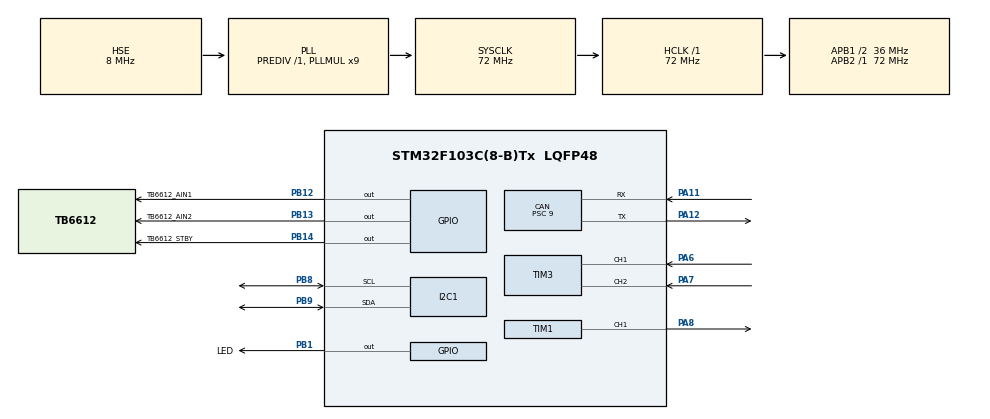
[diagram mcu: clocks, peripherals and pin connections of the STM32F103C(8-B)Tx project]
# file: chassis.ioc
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CAN.ABOM=ENABLE
CAN.BS1=CAN_BS1_11TQ
CAN.BS2=CAN_BS2_4TQ
CAN.CalculateBaudRate=250000
CAN.CalculateTimeBit=4000
CAN.CalculateTimeQuantum=250.0
CAN.Prescaler=9
CAN.SJW=CAN_SJW_4TQ
CAN.TXFP=ENABLE
FREERTOS.Tasks01=CAN_Send,24,128,StartCAN_SendTask,Default,NULL,Dynamic,NULL,NULL;CAN_Recv,24,256,StartCAN_RecvTask,Default,NULL,Dynamic,NULL,NULL;CAN_HB,8,128,StartCAN_HBTask,Default,NULL,Dynamic,NULL,NULL;Motor,24,256,StartMotorTask,Default,NULL,Dynamic,NULL,NULL;OLED,8,256,StartOLEDTask,Default,NULL,Dynamic,NULL,NULL;LED,8,128,StartLEDTask,Default,NULL,Dynamic,NULL,NULL
FREERTOS.configTOTAL_HEAP_SIZE=15360
Mcu.Family=STM32F1
Mcu.Name=STM32F103C(8-B)Tx
Mcu.Package=LQFP48
NVIC.CAN1_SCE_IRQn=true\:5\:0\:false\:false\:true\:true\:true\:true\:true
NVIC.PriorityGroup=NVIC_PRIORITYGROUP_4
NVIC.TIM2_IRQn=true\:15\:0\:false\:false\:true\:false\:false\:true\:true
NVIC.TimeBase=TIM2_IRQn
NVIC.TimeBaseIP=TIM2
NVIC.USB_HP_CAN1_TX_IRQn=true\:5\:0\:false\:false\:true\:true\:true\:true\:true
NVIC.USB_LP_CAN1_RX0_IRQn=true\:5\:0\:false\:false\:true\:true\:true\:true\:true
PA11.Mode=CAN_Activate
PA11.Signal=CAN_RX
PA12.Mode=CAN_Activate
PA12.Signal=CAN_TX
PA13.Mode=Serial_Wire
PA13.Signal=SYS_JTMS-SWDIO
PA14.Mode=Serial_Wire
PA14.Signal=SYS_JTCK-SWCLK
PA6.Signal=S_TIM3_CH1
PA7.Signal=S_TIM3_CH2
PA8.Signal=S_TIM1_CH1
PB1.GPIO_Label=LED
PB1.PinState=GPIO_PIN_SET
PB1.Signal=GPIO_Output
PB12.GPIO_Label=TB6612_AIN1
PB12.Signal=GPIO_Output
PB13.GPIO_Label=TB6612_AIN2
PB13.Signal=GPIO_Output
PB14.GPIO_Label=TB6612_STBY
PB14.PinState=GPIO_PIN_SET
PB14.Signal=GPIO_Output
PB8.Mode=I2C
PB8.Signal=I2C1_SCL
PB9.Mode=I2C
PB9.Signal=I2C1_SDA
PD0-OSC_IN.Mode=HSE-External-Oscillator
PD0-OSC_IN.Signal=RCC_OSC_IN
PD1-OSC_OUT.Mode=HSE-External-Oscillator
PD1-OSC_OUT.Signal=RCC_OSC_OUT
ProjectManager.HeapSize=0x200
ProjectManager.StackSize=0x400
ProjectManager.TargetToolchain=STM32CubeIDE
RCC.AHBFreq_Value=72000000
RCC.APB1CLKDivider=RCC_HCLK_DIV2
RCC.APB1Freq_Value=36000000
RCC.APB1TimFreq_Value=72000000
RCC.APB2Freq_Value=72000000
RCC.APB2TimFreq_Value=72000000
RCC.HCLKFreq_Value=72000000
RCC.PLLMUL=RCC_PLL_MUL9
RCC.PLLSourceVirtual=RCC_PLLSOURCE_HSE
RCC.SYSCLKFreq_VALUE=72000000
RCC.SYSCLKSource=RCC_SYSCLKSOURCE_PLLCLK
RCC.USBFreq_Value=72000000
SH.S_TIM1_CH1.0=TIM1_CH1,PWM Generation1 CH1
SH.S_TIM3_CH1.0=TIM3_CH1,Encoder_Interface
SH.S_TIM3_CH2.0=TIM3_CH2,Encoder_Interface
TIM1.Channel-PWM\ Generation1\ CH1=TIM_CHANNEL_1
TIM1.Period=7199
TIM3.EncoderMode=TIM_ENCODERMODE_TI12
VP_FREERTOS_VS_CMSIS_V2.Mode=CMSIS_V2
VP_SYS_VS_tim2.Mode=TIM2
VP_TIM1_VS_ClockSourceINT.Mode=Internal
board=custom

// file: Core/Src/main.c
/* USER CODE BEGIN Header */
/**
  ******************************************************************************
  * @file           : main.c
  * @brief          : Main program body
  ******************************************************************************
  * @attention
  *
  * Copyright (c) 2026 STMicroelectronics.
  * All rights reserved.
  *
  * This software is licensed under terms that can be found in the LICENSE file
  * in the root directory of this software component.
  * If no LICENSE file comes with this software, it is provided AS-IS.
  *
  ******************************************************************************
  */
/* USER CODE END Header */
#include "main.h"
#include "cmsis_os.h"
#include "can.h"
#include "i2c.h"
#include "tim.h"
#include "gpio.h"

/* USER CODE BEGIN Includes */
#include "system_task_init.h"
/* USER CODE END Includes */

void SystemClock_Config(void);
void MX_FREERTOS_Init(void);

int main(void)
{

  /* MCU Configuration--------------------------------------------------------*/

  /* Reset of all peripherals, Initializes the Flash interface and the Systick. */
  HAL_Init();

  /* Configure the system clock */
  SystemClock_Config();

  /* Initialize all configured peripherals */
  MX_GPIO_Init();
  MX_CAN_Init();
  MX_I2C1_Init();
  MX_TIM1_Init();
  MX_TIM3_Init();
  /* USER CODE BEGIN 2 */
  System_Periph_Init();
  /* USER CODE END 2 */

  /* Init scheduler */
  osKernelInitialize();  /* Call init function for freertos objects (in cmsis_os2.c) */
  MX_FREERTOS_Init();

  /* Start scheduler */
  osKernelStart();

  /* We should never get here as control is now taken by the scheduler */

  /* Infinite loop */
  while (1)
  {

  }
}

void SystemClock_Config(void)
{
  RCC_OscInitTypeDef RCC_OscInitStruct = {0};
  RCC_ClkInitTypeDef RCC_ClkInitStruct = {0};

  /** Initializes the RCC Oscillators according to the specified parameters
  * in the RCC_OscInitTypeDef structure.
  */
  RCC_OscInitStruct.OscillatorType = RCC_OSCILLATORTYPE_HSE;
  RCC_OscInitStruct.HSEState = RCC_HSE_ON;
  RCC_OscInitStruct.HSEPredivValue = RCC_HSE_PREDIV_DIV1;
  RCC_OscInitStruct.HSIState = RCC_HSI_ON;
  RCC_OscInitStruct.PLL.PLLState = RCC_PLL_ON;
  RCC_OscInitStruct.PLL.PLLSource = RCC_PLLSOURCE_HSE;
  RCC_OscInitStruct.PLL.PLLMUL = RCC_PLL_MUL9;
  if (HAL_RCC_OscConfig(&RCC_OscInitStruct) != HAL_OK)
  {
    Error_Handler();
  }

  /** Initializes the CPU, AHB and APB buses clocks
  */
  RCC_ClkInitStruct.ClockType = RCC_CLOCKTYPE_HCLK|RCC_CLOCKTYPE_SYSCLK
                              |RCC_CLOCKTYPE_PCLK1|RCC_CLOCKTYPE_PCLK2;
  RCC_ClkInitStruct.SYSCLKSource = RCC_SYSCLKSOURCE_PLLCLK;
  RCC_ClkInitStruct.AHBCLKDivider = RCC_SYSCLK_DIV1;
  RCC_ClkInitStruct.APB1CLKDivider = RCC_HCLK_DIV2;
  RCC_ClkInitStruct.APB2CLKDivider = RCC_HCLK_DIV1;

  if (HAL_RCC_ClockConfig(&RCC_ClkInitStruct, FLASH_LATENCY_2) != HAL_OK)
  {
    Error_Handler();
  }
}

void HAL_TIM_PeriodElapsedCallback(TIM_HandleTypeDef *htim)
{
  if (htim->Instance == TIM2)
  {
    HAL_IncTick();
  }
}

void Error_Handler(void)
{
  __disable_irq();
  while (1)
  {
  }
}

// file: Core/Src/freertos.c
/* USER CODE BEGIN Header */
/**
  ******************************************************************************
  * File Name          : freertos.c
  * Description        : Code for freertos applications
  ******************************************************************************
  * @attention
  *
  * Copyright (c) 2026 STMicroelectronics.
  * All rights reserved.
  *
  * This software is licensed under terms that can be found in the LICENSE file
  * in the root directory of this software component.
  * If no LICENSE file comes with this software, it is provided AS-IS.
  *
  ******************************************************************************
  */
/* USER CODE END Header */

#include "FreeRTOS.h"
#include "task.h"
#include "main.h"
#include "cmsis_os.h"
#include "bsp_can.h"
#include "bsp_motor.h"
#include "bsp_oled.h"
#include "can_app.h"
#include "can_protocol.h"
#include "LED.h"
#include "motor_control.h"
#include "pid.h"
#include "stdio.h"
#include "math.h"

/* USER CODE BEGIN PD */
#define CAN_HEARTBEAT_MASK 0xFFU
#define CAN_SLOW_SEND_PERIOD_MS 100U
/* USER CODE END PD */

/* USER CODE BEGIN Variables */
static const uint8_t breath_table[LED_PWM_RESOLUTION] = {
  0,  3,  6,  9, 12, 15, 18, 21, 24, 27,
 30, 33, 36, 39, 42, 45, 48, 50, 53, 55,
 58, 60, 63, 65, 67, 69, 71, 73, 75, 76,
 78, 79, 80, 81, 82, 83, 84, 84, 85, 85,
 86, 86, 86, 86, 86, 86, 86, 85, 85, 84,
 84, 83, 82, 81, 80, 79, 78, 76, 75, 73,
 71, 69, 67, 65, 63, 60, 58, 55, 53, 50,
 48, 45, 42, 39, 36, 33, 30, 27, 24, 21,
 18, 15, 12,  9,  6,  3,  0,  0,  0,  0,
  0,  0,  0,  0,  0,  0,  0,  0,  0,  0,
};
/* USER CODE END Variables */
/* Definitions for CAN_Send */
osThreadId_t CAN_SendHandle;
const osThreadAttr_t CAN_Send_attributes = {
  .name = "CAN_Send",
  .stack_size = 128 * 4,
  .priority = (osPriority_t) osPriorityNormal,
};
/* Definitions for CAN_Recv */
osThreadId_t CAN_RecvHandle;
const osThreadAttr_t CAN_Recv_attributes = {
  .name = "CAN_Recv",
  .stack_size = 256 * 4,
  .priority = (osPriority_t) osPriorityNormal,
};
/* Definitions for CAN_HB */
osThreadId_t CAN_HBHandle;
const osThreadAttr_t CAN_HB_attributes = {
  .name = "CAN_HB",
  .stack_size = 128 * 4,
  .priority = (osPriority_t) osPriorityLow,
};
/* Definitions for Motor */
osThreadId_t MotorHandle;
const osThreadAttr_t Motor_attributes = {
  .name = "Motor",
  .stack_size = 256 * 4,
  .priority = (osPriority_t) osPriorityNormal,
};
/* Definitions for OLED */
osThreadId_t OLEDHandle;
const osThreadAttr_t OLED_attributes = {
  .name = "OLED",
  .stack_size = 256 * 4,
  .priority = (osPriority_t) osPriorityLow,
};
/* Definitions for LED */
osThreadId_t LEDHandle;
const osThreadAttr_t LED_attributes = {
  .name = "LED",
  .stack_size = 128 * 4,
  .priority = (osPriority_t) osPriorityLow,
};

/* USER CODE BEGIN FunctionPrototypes */
static float encoder_to_rpm(int32_t delta, float dt_sec);
/* USER CODE END FunctionPrototypes */

void StartCAN_SendTask(void *argument);
void StartCAN_RecvTask(void *argument);
void StartCAN_HBTask(void *argument);
void StartMotorTask(void *argument);
void StartOLEDTask(void *argument);
void StartLEDTask(void *argument);

void MX_FREERTOS_Init(void); /* (MISRA C 2004 rule 8.1) */

void MX_FREERTOS_Init(void) {

  /* Create the thread(s) */
  /* creation of CAN_Send */
  CAN_SendHandle = osThreadNew(StartCAN_SendTask, NULL, &CAN_Send_attributes);

  /* creation of CAN_Recv */
  CAN_RecvHandle = osThreadNew(StartCAN_RecvTask, NULL, &CAN_Recv_attributes);

  /* creation of CAN_HB */
  CAN_HBHandle = osThreadNew(StartCAN_HBTask, NULL, &CAN_HB_attributes);

  /* creation of Motor */
  MotorHandle = osThreadNew(StartMotorTask, NULL, &Motor_attributes);

  /* creation of OLED */
  OLEDHandle = osThreadNew(StartOLEDTask, NULL, &OLED_attributes);

  /* creation of LED */
  LEDHandle = osThreadNew(StartLEDTask, NULL, &LED_attributes);

}

void StartCAN_SendTask(void *argument)
{
  /* USER CODE BEGIN StartCAN_SendTask */
  (void)argument;
  uint8_t tx_data[8];
  TickType_t xLastWakeTime = xTaskGetTickCount();
  /* Infinite loop */
  for(;;)
  {
    /* slow 100ms send when no peer to avoid Bus-Off; 10ms when connected */
    uint32_t period = g_can_state.can_comm_ok
                    ? CAN_SEND_PERIOD_MS : CAN_SLOW_SEND_PERIOD_MS;
    vTaskDelayUntil(&xLastWakeTime, pdMS_TO_TICKS(period));
    taskENTER_CRITICAL();
    g_can_state.chassis_feedback.chassis_heartbeat = g_can_state.chassis_heartbeat;
    ChassisFeedbackMsg_t fb = g_can_state.chassis_feedback;
    taskEXIT_CRITICAL();
    Protocol_EncodeChassisFeedback(&fb, tx_data);
    HAL_StatusTypeDef status = BSP_CAN_SendMessage(CAN_CHASSIS_TO_GIMBAL_ID, tx_data, CAN_TX_TIMEOUT);
    taskENTER_CRITICAL();
    g_can_state.chassis_heartbeat = (g_can_state.chassis_heartbeat + 1U) & CAN_HEARTBEAT_MASK;
    taskEXIT_CRITICAL();
    if (status == HAL_OK) g_can_state.can_tx_cnt++;
    osDelay(1);
  }
  /* USER CODE END StartCAN_SendTask */
}

void StartCAN_RecvTask(void *argument)
{
  /* USER CODE BEGIN StartCAN_RecvTask */
  (void)argument;
  BSP_CAN_RxMsg_t rx_msg;
  /* Infinite loop */
  for(;;)
  {
    if (BSP_CAN_GetRxMessage(&rx_msg) == 0U) {
      vTaskDelay(pdMS_TO_TICKS(1));
      continue;
    }
    if (rx_msg.header.StdId == CAN_GIMBAL_TO_CHASSIS_ID) {
      taskENTER_CRITICAL();
      Protocol_DecodeGimbalCtrl(rx_msg.data, &g_can_state.gimbal_ctrl_rx);
      g_can_state.gimbal_ctrl_updated = 1U;
      g_can_state.last_gimbal_rx_time = HAL_GetTick();
      g_can_state.can_rx_cnt++;
      if (g_can_state.gimbal_ctrl_rx.gimbal_heartbeat != g_can_state.last_gimbal_hb) {
        g_can_state.last_gimbal_hb = g_can_state.gimbal_ctrl_rx.gimbal_heartbeat;
        g_can_state.gimbal_online  = 1U;
      }
      taskEXIT_CRITICAL();
    }
    osDelay(1);
  }
  /* USER CODE END StartCAN_RecvTask */
}

void StartCAN_HBTask(void *argument)
{
  /* USER CODE BEGIN StartCAN_HBTask */
  (void)argument;
  TickType_t xLastWakeTime = xTaskGetTickCount();
  vTaskDelay(pdMS_TO_TICKS(500));
  /* Infinite loop */
  for(;;)
  {
    vTaskDelayUntil(&xLastWakeTime, pdMS_TO_TICKS(50));
    uint32_t now = HAL_GetTick();
    uint8_t prev_comm_ok = g_can_state.can_comm_ok;
    uint8_t comm_ok = 1U;
    if ((now - g_can_state.last_gimbal_rx_time) > CAN_HEARTBEAT_TIMEOUT) {
      g_can_state.gimbal_online = 0U;
      comm_ok = 0U;
    }
    g_can_state.can_comm_ok = comm_ok;
    if (prev_comm_ok != comm_ok) {
      taskENTER_CRITICAL();
      if (comm_ok)
        g_can_state.chassis_feedback.status_flags &= ~STATUS_CAN_ERROR;
      else
        g_can_state.chassis_feedback.status_flags |= STATUS_CAN_ERROR;
      taskEXIT_CRITICAL();
    }
    osDelay(1);
  }
  /* USER CODE END StartCAN_HBTask */
}

void StartMotorTask(void *argument)
{
  /* USER CODE BEGIN StartMotorTask */
  (void)argument;
  TickType_t xLastWakeTime = xTaskGetTickCount();
  /* Infinite loop */
  for(;;)
  {
    vTaskDelayUntil(&xLastWakeTime, pdMS_TO_TICKS(MOTOR_CTRL_PERIOD_MS));
    int32_t encoder_delta = BSP_Motor_GetEncoderAndClear();
    float actual_rpm = encoder_to_rpm(encoder_delta, MOTOR_CTRL_DT);
    taskENTER_CRITICAL();
    g_motor.actual_rpm = actual_rpm;
    g_motor.raw_encoder = encoder_delta;
    g_motor.motor_online = 1U;
    taskEXIT_CRITICAL();
    float target_rpm = g_motor.target_rpm;
    if (CAN_App_IsGimbalCtrlUpdated()) {
      GimbalCtrlMsg_t ctrl = CAN_App_GetGimbalCtrl();
      target_rpm = (float)ctrl.wheel_target_speed;
      g_motor.target_rpm = target_rpm;
      g_motor.target_updated = 1U;
    }
    if (fabsf(target_rpm) < MOTOR_ZERO_SPEED_THRESHOLD) {
      PID_Reset(&g_motor.speed_pid);
    }
    float pid_out = PID_Compute(&g_motor.speed_pid, target_rpm, actual_rpm, MOTOR_CTRL_DT);
    g_motor.pid_output = pid_out;
    uint16_t duty = (uint16_t)fabsf(pid_out);
    if (duty > MOTOR_PWM_MAX) duty = MOTOR_PWM_MAX;
    if (duty < 50 && fabsf(target_rpm) < MOTOR_ZERO_SPEED_THRESHOLD) {
      BSP_Motor_Stop();
    }
    else if (pid_out > 0.0f) {
      BSP_Motor_SetSpeed(duty, MOTOR_DIR_CW);
    }
    else if (pid_out < 0.0f) {
      BSP_Motor_SetSpeed(duty, MOTOR_DIR_CCW);
    }
    else {
      BSP_Motor_Stop();
    }
    CAN_App_SetChassisFeedback((int16_t)actual_rpm, (int16_t)encoder_delta);
    if (fabsf(actual_rpm) > 500.0f) {
      g_motor.motor_error = 1U;
      BSP_Motor_Stop();
    }
    else if (fabsf(target_rpm) > 50.0f && fabsf(actual_rpm) < 5.0f
               && duty > MOTOR_PWM_MAX * 0.3f) {
      g_motor.motor_error = 1U;
               }
    else {
      g_motor.motor_error = 0U;
    }
    osDelay(1);
  }
  /* USER CODE END StartMotorTask */
}

void StartOLEDTask(void *argument)
{
  /* USER CODE BEGIN StartOLEDTask */
  (void)argument;
  vTaskDelay(pdMS_TO_TICKS(100));
  BSP_OLED_Init();
  TickType_t xLastWakeTime = xTaskGetTickCount();
  /* Infinite loop */
  for(;;)
  {
    vTaskDelayUntil(&xLastWakeTime, pdMS_TO_TICKS(OLED_REFRESH_PERIOD_MS));
    BSP_OLED_Clear();
    char line[22];
    {
      GimbalCtrlMsg_t ctrl = g_can_state.gimbal_ctrl_rx;
      if (ctrl.status_flags & STATUS_SELF_TEST) {
        BSP_OLED_ShowString(0, 0, "=  SELF TEST  =");
      }
      else {
        BSP_OLED_ShowString(0, 0, "RM Chassis C Board");
      }
    }
    {
      GimbalCtrlMsg_t ctrl = g_can_state.gimbal_ctrl_rx;
      const char *st = ctrl.servo_online ? "OK" : "OFF";
      snprintf(line, sizeof(line), "Srv :%5drpm[%s]", ctrl.servo_target_speed, st);
      BSP_OLED_ShowString(0, 10, line);
    }
    {
      GimbalCtrlMsg_t ctrl = g_can_state.gimbal_ctrl_rx;
      snprintf(line, sizeof(line), "MtrT:%5drpm", ctrl.wheel_target_speed);
      BSP_OLED_ShowString(0, 19, line);
    }
    {
      int16_t actual = (int16_t)g_motor.actual_rpm;
      const char *st = g_motor.motor_online ? "OK" : "ERR";
      snprintf(line, sizeof(line), "MtrR:%5drpm[%s]", actual, st);
      BSP_OLED_ShowString(0, 28, line);
    }
    {
      const char *st = g_can_state.can_comm_ok ? "OK" : "ERR";
      snprintf(line, sizeof(line), "CAN:[%s]G-C", st);
      BSP_OLED_ShowString(0, 37, line);
    }
    {
      snprintf(line, sizeof(line), "TX:%4lu RX:%4lu",
               g_can_state.can_tx_cnt, g_can_state.can_rx_cnt);
      BSP_OLED_ShowString(0, 46, line);
    }
    {
      uint32_t sec = xTaskGetTickCount() / 1000U;
      snprintf(line, sizeof(line), "Up:%5lus", (unsigned long)sec);
      BSP_OLED_ShowString(0, 55, line);
    }
    BSP_OLED_Refresh();
    osDelay(1);
  }
  /* USER CODE END StartOLEDTask */
}

void StartLEDTask(void *argument)
{
  /* USER CODE BEGIN StartLEDTask */
  (void)argument;
  LED_StartBlink();   /* 3 power-on blinks via vTaskDelay (no NOP spin) */
  uint8_t breath_idx = 0U;
  uint8_t should_breath = 0U;
  /* Infinite loop */
  for(;;)
  {
    should_breath = g_motor.motor_error ? 1U : 0U;
    if (should_breath) {
      uint8_t brightness = breath_table[breath_idx];
      uint32_t on_time = (uint32_t)brightness * LED_BREATH_STEP_MS / LED_PWM_RESOLUTION;
      uint32_t off_time = LED_BREATH_STEP_MS - on_time;
      HAL_GPIO_WritePin(LED_GPIO_Port, LED_Pin, GPIO_PIN_SET);
      if (on_time > 0U) vTaskDelay(pdMS_TO_TICKS(on_time));
      HAL_GPIO_WritePin(LED_GPIO_Port, LED_Pin, GPIO_PIN_RESET);
      if (off_time > 0U) vTaskDelay(pdMS_TO_TICKS(off_time));
      breath_idx++;
      if (breath_idx >= LED_PWM_RESOLUTION) breath_idx = 0U;
    }
    else {
      HAL_GPIO_WritePin(LED_GPIO_Port, LED_Pin, GPIO_PIN_SET);
      vTaskDelay(pdMS_TO_TICKS(100));
      breath_idx = 0U;
    }
    osDelay(1);
  }
  /* USER CODE END StartLEDTask */
}

/* USER CODE BEGIN Application */
static float encoder_to_rpm(int32_t delta, float dt_sec)
{
  if (dt_sec <= 0.0f) return 0.0f;
  float revolutions = (float)delta / MOTOR_ENCODER_CPR;
  return revolutions * 60.0f / dt_sec;
}

/* USER CODE END Application */
